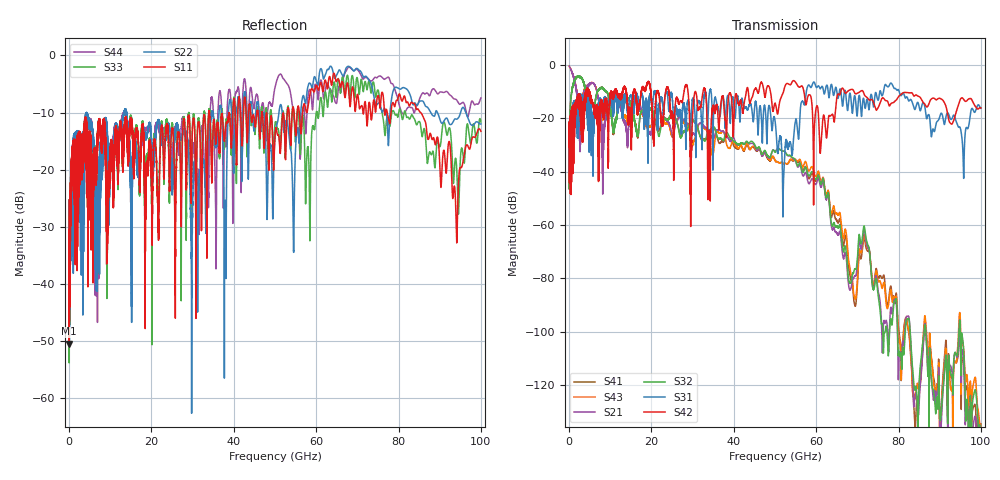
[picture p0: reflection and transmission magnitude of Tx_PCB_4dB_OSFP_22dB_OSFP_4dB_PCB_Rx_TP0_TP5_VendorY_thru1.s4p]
! Info: Touchstone file created by Circ.  Input file=Tx_PCB_4dB_OSFP_22dB_OSFP_4dB_PCB_Rx_TP0_TP5_VendorY.circ
# Hz S RI R 50
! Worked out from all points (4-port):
!   10000 points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, 10 MHz to 100 GHz, reference 50 ohm
!   strongest paths, dB at 10 MHz, 25.01 GHz, 50.01 GHz, 75.01 GHz, 100 GHz:
!     S42: -25.1, -19.1, -14.5, -16.2, -16.2
!     S31: -25.1, -12.1, -21.0, -13.3, -16.3
!     S32: -46.4, -18.6, -32.6, -85.8, -139.2
!     S21: -0.5, -26.1, -32.5, -84.4, -136.3
!     S43: -0.5, -26.9, -35.9, -80.7, -138.4
!     S41: -46.4, -18.6, -35.7, -79.7, -134.5
!   lowest |S11| = -50.4 dB at 40 MHz (marker M1), VSWR 1.01, Z = 49.8 + j0.187 ohm
!   |S11| at or under -10 dB: start of sweep to 33.91 GHz; 46.91 GHz to 52.99 GHz (6.081 GHz wide, 12.2 % of centre); 85.34 GHz to end of sweep (the widest 3 of 19)
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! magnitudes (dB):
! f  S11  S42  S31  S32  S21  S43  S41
! 10 MHz  -25.3  -25.1  -25.1  -46.4  -0.5  -0.5  -46.4
! 40 MHz  -50.4  -30.7  -30.7  -32.1  -0.6  -0.6  -32.1
! 2.47 GHz  -13.3  -10.9  -11.7  -4.7  -23.5  -16.0  -4.7
! 52.15 GHz  -10.7  -9.6  -40.9  -32.3  -32.3  -37.1  -37.1
! 58.13 GHz  -8.6  -11.4  -7.6  -41.5  -44.4  -39.7  -42.5
! 68.22 GHz  -9.0  -9.4  -10.6  -81.8  -84.2  -76.3  -78.9
! 100 GHz  -13.3  -16.2  -16.3  -139.2  -136.3  -138.4  -134.5
